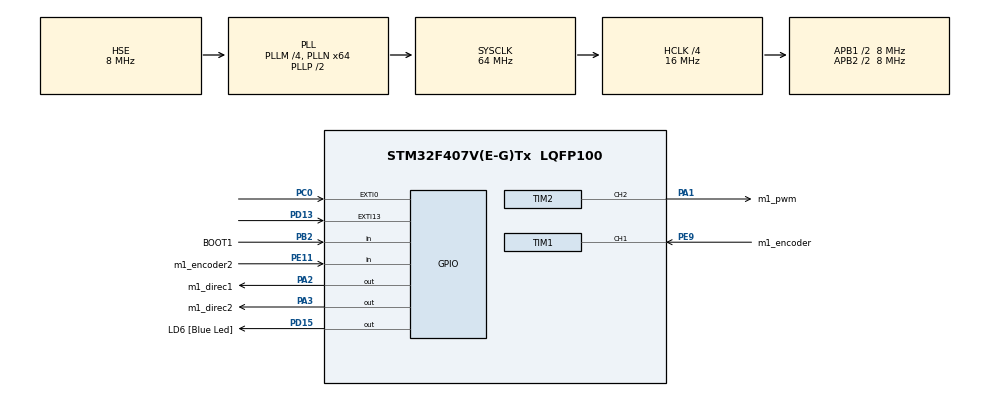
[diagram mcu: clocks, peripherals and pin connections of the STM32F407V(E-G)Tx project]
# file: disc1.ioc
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Mcu.Family=STM32F4
Mcu.Name=STM32F407V(E-G)Tx
Mcu.Package=LQFP100
NVIC.EXTI0_IRQn=true\:0\:0\:false\:false\:true\:true\:true\:true
NVIC.PriorityGroup=NVIC_PRIORITYGROUP_0
NVIC.TIM1_CC_IRQn=true\:0\:0\:false\:false\:true\:true\:true\:true
NVIC.TIM3_IRQn=true\:0\:0\:false\:false\:true\:true\:true\:true
PA1.GPIO_Label=m1_pwm
PA1.Signal=S_TIM2_CH2
PA13.GPIO_Label=SWDIO
PA13.Mode=Serial_Wire
PA13.Signal=SYS_JTMS-SWDIO
PA14.GPIO_Label=SWCLK
PA14.Mode=Serial_Wire
PA14.Signal=SYS_JTCK-SWCLK
PA2.GPIO_Label=m1_direc1
PA2.Signal=GPIO_Output
PA3.GPIO_Label=m1_direc2
PA3.Signal=GPIO_Output
PB2.GPIO_Label=BOOT1
PB2.GPIO_Mode=GPIO_MODE_INPUT
PB2.GPIO_PuPd=GPIO_NOPULL
PB2.Signal=GPIO_Input
PB3.GPIO_Label=SWO
PB3.Signal=SYS_JTDO-SWO
PC0.GPIO_PuPd=GPIO_PULLUP
PC0.Signal=GPXTI0
PD13.Signal=GPXTI13
PD15.GPIO_Label=LD6 [Blue Led]
PD15.GPIO_PuPd=GPIO_NOPULL
PD15.GPIO_Speed=GPIO_SPEED_FREQ_LOW
PD15.Signal=GPIO_Output
PE11.GPIO_Label=m1_encoder2
PE11.Signal=GPIO_Input
PE9.GPIO_Label=m1_encoder
PE9.Signal=S_TIM1_CH1
PH0-OSC_IN.Mode=HSE-External-Oscillator
PH0-OSC_IN.Signal=RCC_OSC_IN
PH1-OSC_OUT.Mode=HSE-External-Oscillator
PH1-OSC_OUT.Signal=RCC_OSC_OUT
ProjectManager.HeapSize=0x200
ProjectManager.StackSize=0x400
ProjectManager.TargetToolchain=STM32CubeIDE
RCC.48MHZClocksFreq_Value=18285714.285714287
RCC.AHBCLKDivider=RCC_SYSCLK_DIV4
RCC.AHBFreq_Value=16000000
RCC.APB1CLKDivider=RCC_HCLK_DIV2
RCC.APB1Freq_Value=8000000
RCC.APB1TimFreq_Value=16000000
RCC.APB2CLKDivider=RCC_HCLK_DIV2
RCC.APB2Freq_Value=8000000
RCC.APB2TimFreq_Value=16000000
RCC.CortexFreq_Value=16000000
RCC.HCLKFreq_Value=16000000
RCC.HSE_VALUE=8000000
RCC.HSI_VALUE=16000000
RCC.LSE_VALUE=32768
RCC.PLLM=4
RCC.PLLN=64
RCC.PLLQ=7
RCC.PLLSourceVirtual=RCC_PLLSOURCE_HSE
RCC.SYSCLKFreq_VALUE=64000000
RCC.SYSCLKSource=RCC_SYSCLKSOURCE_PLLCLK
RCC.VCOOutputFreq_Value=128000000
SH.S_TIM1_CH1.0=TIM1_CH1,Input_Capture1_from_TI1
SH.S_TIM2_CH2.0=TIM2_CH2,PWM Generation2 CH2
TIM1.Channel-Input_Capture1_from_TI1=TIM_CHANNEL_1
TIM1.ICPolarity_CH1=TIM_INPUTCHANNELPOLARITY_FALLING
TIM1.Prescaler=15
TIM2.AutoReloadPreload=TIM_AUTORELOAD_PRELOAD_ENABLE
TIM2.Channel-PWM\ Generation2\ CH2=TIM_CHANNEL_2
TIM2.Period=99
TIM2.Prescaler=800-1
TIM3.AutoReloadPreload=TIM_AUTORELOAD_PRELOAD_ENABLE
TIM3.CounterMode=TIM_COUNTERMODE_DOWN
TIM3.Period=32767
VP_TIM2_VS_ClockSourceINT.Mode=Internal
VP_TIM3_VS_ClockSourceINT.Mode=Internal
board=STM32F407G-DISC1

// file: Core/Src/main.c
/* USER CODE BEGIN Header */
/**
  ******************************************************************************
  * @file           : main.c
  * @brief          : Main program body
  ******************************************************************************
  * @attention
  *
  * Copyright (c) 2023 STMicroelectronics.
  * All rights reserved.
  *
  * This software is licensed under terms that can be found in the LICENSE file
  * in the root directory of this software component.
  * If no LICENSE file comes with this software, it is provided AS-IS.
  *
  ******************************************************************************
  */
/* USER CODE END Header */
#include "main.h"

/* USER CODE BEGIN Includes */
#include "stdio.h"
#include "stdint.h"
#include "../Inc/Position_Control.h"
/* USER CODE END Includes */

/* USER CODE BEGIN PM */

uint32_t CountOfPulses=0;

/* USER CODE END PM */

TIM_HandleTypeDef htim1;
TIM_HandleTypeDef htim2;
TIM_HandleTypeDef htim3;

/* USER CODE BEGIN PV */

uint32_t Current_time=0;
uint32_t Last_time =0;
uint32_t Difference=0;
uint32_t Accumulative_time=0;
double Speed=0;
uint8_t first_time=1;

uint32_t Speedint=0;

/// init motor
Motor_t m1={.Encoder_pin= m1_encoder_Pin,
		    .Encoder_port=m1_encoder_GPIO_Port,
            .Encoder_pin_2=m1_encoder2_Pin,
			.Encoder2_port=m1_encoder2_GPIO_Port,

            .Direction_pin1=m1_direc1_Pin,
			 .Direction_port1=m1_direc1_GPIO_Port,
	 	 	 .Direction_pin2=m1_direc2_Pin,
			 .Direction_port2=m1_direc2_GPIO_Port,

			.PWM_channel=TIM_CHANNEL_2,
			.PWM_Timer=&htim2
				};
uint32_t count=0;
GPIO_PinState bitstatus ;
void HAL_TIM_IC_CaptureCallback(TIM_HandleTypeDef *htim)
{

	if (htim->Channel == HAL_TIM_ACTIVE_CHANNEL_1)
	{

		bitstatus = HAL_GPIO_ReadPin(m1_encoder2_GPIO_Port, m1_encoder2_Pin);

		if (bitstatus == GPIO_PIN_RESET)
		{
			UpdateEncoder(&m1,up_move);
			HAL_GPIO_WritePin(GPIOD, GPIO_PIN_15, GPIO_PIN_RESET);
		}
		else
		{
			UpdateEncoder(&m1,down_mov);
			HAL_GPIO_WritePin(GPIOD, GPIO_PIN_15, GPIO_PIN_SET);
		}

		//
//		if (first_time == 1)
//		{
//			Current_time=HAL_TIM_ReadCapturedValue(&htim1,TIM_CHANNEL_1);
//			Last_time=Current_time;
//			first_time=0;
//
//		}
//		else
//		{
//			Current_time=HAL_TIM_ReadCapturedValue(&htim1,TIM_CHANNEL_1);
//
//			Difference = Current_time - Last_time;
//			Last_time  = Current_time;
//
//			Accumulative_time+=Difference;
//
//
//		}
//
//		//Speed= (1000000) / (Difference * 46.8*11);  // rps for main shaft 1:46.8
//		Speedint = (uint32_t)Speed;
//
//        printf("%d \n",(int)count);

	}

}
/*******************----controlling position ----*******************/

void HAL_TIM_PeriodElapsedCallback(TIM_HandleTypeDef *htim)
{
	//HAL_GPIO_TogglePin(GPIOD,GPIO_PIN_15);
 if (htim == &htim3)   //trigger every 2.048ms
 {
	 Position_Calc_Signal(&m1);
	 printf("%d \n",m1.CurrentPosition);
 }
}
/*
 * uint8_t buff[10] ="sheko";
  uint8_t cha[20]={'\0'};
  sprintf(cha,"bootloader...%s\r\n",buff);
 */
/* USER CODE END PV */

void SystemClock_Config(void);
static void MX_GPIO_Init(void);
static void MX_TIM1_Init(void);
static void MX_TIM2_Init(void);
static void MX_TIM3_Init(void);

int main(void)
{
  /* USER CODE BEGIN 1 */
	DBGMCU->APB1FZ |= (DBGMCU_APB1_FZ_DBG_TIM2_STOP | DBGMCU_APB1_FZ_DBG_TIM3_STOP |
	                    DBGMCU_APB1_FZ_DBG_TIM4_STOP | DBGMCU_APB1_FZ_DBG_TIM5_STOP);

  /* USER CODE END 1 */

  /* MCU Configuration--------------------------------------------------------*/

  /* Reset of all peripherals, Initializes the Flash interface and the Systick. */
  HAL_Init();

  /* Configure the system clock */
  SystemClock_Config();

  /* Initialize all configured peripherals */
  MX_GPIO_Init();
  MX_TIM1_Init();
  MX_TIM2_Init();
  MX_TIM3_Init();
  /* USER CODE BEGIN 2 */
  HAL_Delay(1000);
HAL_TIM_IC_Start_IT(&htim1, TIM_CHANNEL_1);

//*********** position **********/
HAL_TIM_Base_Start_IT(&htim3);   // Generate interrupt
init_motors(&m1);
//init_PIDVal(&m1,11.642, 0,0.108);  //best one, but with some oscillation
//init_PIDVal(&m1,2.081, 0,0.08687);
//init_PIDVal(&m1,3.24, 0,0.134);
//init_PIDVal(&m1,0.052, 0.062,0.003);  // the best
//init_PIDVal(&m1,0.59, 0,0.021);
//init_PIDVal(&m1,0.3781, 0,0.0134);
//init_PIDVal(&m1,1.126, 0,0.0186);      // system identification (small oscillation)(best)
//init_PIDVal(&m1,1.126, 0,0.0086);
init_PIDVal(&m1,0.475, 0,0.0134);  //the fshe5aaa one

Position_GetNewTarget(&m1, 40);
HAL_Delay(500);
Position_GetNewTarget(&m1, 0);

  /* USER CODE END 2 */

  /* Infinite loop */
  /* USER CODE BEGIN WHILE */
while (1)
  {}
  /* USER CODE END 3 */
}

void SystemClock_Config(void)
{
  RCC_OscInitTypeDef RCC_OscInitStruct = {0};
  RCC_ClkInitTypeDef RCC_ClkInitStruct = {0};

  /** Configure the main internal regulator output voltage
  */
  __HAL_RCC_PWR_CLK_ENABLE();
  __HAL_PWR_VOLTAGESCALING_CONFIG(PWR_REGULATOR_VOLTAGE_SCALE1);

  /** Initializes the RCC Oscillators according to the specified parameters
  * in the RCC_OscInitTypeDef structure.
  */
  RCC_OscInitStruct.OscillatorType = RCC_OSCILLATORTYPE_HSE;
  RCC_OscInitStruct.HSEState = RCC_HSE_ON;
  RCC_OscInitStruct.PLL.PLLState = RCC_PLL_ON;
  RCC_OscInitStruct.PLL.PLLSource = RCC_PLLSOURCE_HSE;
  RCC_OscInitStruct.PLL.PLLM = 4;
  RCC_OscInitStruct.PLL.PLLN = 64;
  RCC_OscInitStruct.PLL.PLLP = RCC_PLLP_DIV2;
  RCC_OscInitStruct.PLL.PLLQ = 7;
  if (HAL_RCC_OscConfig(&RCC_OscInitStruct) != HAL_OK)
  {
    Error_Handler();
  }

  /** Initializes the CPU, AHB and APB buses clocks
  */
  RCC_ClkInitStruct.ClockType = RCC_CLOCKTYPE_HCLK|RCC_CLOCKTYPE_SYSCLK
                              |RCC_CLOCKTYPE_PCLK1|RCC_CLOCKTYPE_PCLK2;
  RCC_ClkInitStruct.SYSCLKSource = RCC_SYSCLKSOURCE_PLLCLK;
  RCC_ClkInitStruct.AHBCLKDivider = RCC_SYSCLK_DIV4;
  RCC_ClkInitStruct.APB1CLKDivider = RCC_HCLK_DIV2;
  RCC_ClkInitStruct.APB2CLKDivider = RCC_HCLK_DIV2;

  if (HAL_RCC_ClockConfig(&RCC_ClkInitStruct, FLASH_LATENCY_0) != HAL_OK)
  {
    Error_Handler();
  }
}

static void MX_TIM1_Init(void)
{

  TIM_MasterConfigTypeDef sMasterConfig = {0};
  TIM_IC_InitTypeDef sConfigIC = {0};

  htim1.Instance = TIM1;
  htim1.Init.Prescaler = 15;
  htim1.Init.CounterMode = TIM_COUNTERMODE_UP;
  htim1.Init.Period = 65535;
  htim1.Init.ClockDivision = TIM_CLOCKDIVISION_DIV1;
  htim1.Init.RepetitionCounter = 0;
  htim1.Init.AutoReloadPreload = TIM_AUTORELOAD_PRELOAD_DISABLE;
  if (HAL_TIM_IC_Init(&htim1) != HAL_OK)
  {
    Error_Handler();
  }
  sMasterConfig.MasterOutputTrigger = TIM_TRGO_RESET;
  sMasterConfig.MasterSlaveMode = TIM_MASTERSLAVEMODE_DISABLE;
  if (HAL_TIMEx_MasterConfigSynchronization(&htim1, &sMasterConfig) != HAL_OK)
  {
    Error_Handler();
  }
  sConfigIC.ICPolarity = TIM_INPUTCHANNELPOLARITY_FALLING;
  sConfigIC.ICSelection = TIM_ICSELECTION_DIRECTTI;
  sConfigIC.ICPrescaler = TIM_ICPSC_DIV1;
  sConfigIC.ICFilter = 0;
  if (HAL_TIM_IC_ConfigChannel(&htim1, &sConfigIC, TIM_CHANNEL_1) != HAL_OK)
  {
    Error_Handler();
  }

}

static void MX_TIM2_Init(void)
{

  TIM_ClockConfigTypeDef sClockSourceConfig = {0};
  TIM_MasterConfigTypeDef sMasterConfig = {0};
  TIM_OC_InitTypeDef sConfigOC = {0};

  htim2.Instance = TIM2;
  htim2.Init.Prescaler = 800-1;
  htim2.Init.CounterMode = TIM_COUNTERMODE_UP;
  htim2.Init.Period = 99;
  htim2.Init.ClockDivision = TIM_CLOCKDIVISION_DIV1;
  htim2.Init.AutoReloadPreload = TIM_AUTORELOAD_PRELOAD_ENABLE;
  if (HAL_TIM_Base_Init(&htim2) != HAL_OK)
  {
    Error_Handler();
  }
  sClockSourceConfig.ClockSource = TIM_CLOCKSOURCE_INTERNAL;
  if (HAL_TIM_ConfigClockSource(&htim2, &sClockSourceConfig) != HAL_OK)
  {
    Error_Handler();
  }
  if (HAL_TIM_PWM_Init(&htim2) != HAL_OK)
  {
    Error_Handler();
  }
  sMasterConfig.MasterOutputTrigger = TIM_TRGO_RESET;
  sMasterConfig.MasterSlaveMode = TIM_MASTERSLAVEMODE_DISABLE;
  if (HAL_TIMEx_MasterConfigSynchronization(&htim2, &sMasterConfig) != HAL_OK)
  {
    Error_Handler();
  }
  sConfigOC.OCMode = TIM_OCMODE_PWM1;
  sConfigOC.Pulse = 0;
  sConfigOC.OCPolarity = TIM_OCPOLARITY_HIGH;
  sConfigOC.OCFastMode = TIM_OCFAST_DISABLE;
  if (HAL_TIM_PWM_ConfigChannel(&htim2, &sConfigOC, TIM_CHANNEL_2) != HAL_OK)
  {
    Error_Handler();
  }
  HAL_TIM_MspPostInit(&htim2);

}

static void MX_TIM3_Init(void)
{

  TIM_ClockConfigTypeDef sClockSourceConfig = {0};
  TIM_MasterConfigTypeDef sMasterConfig = {0};

  htim3.Instance = TIM3;
  htim3.Init.Prescaler = 0;
  htim3.Init.CounterMode = TIM_COUNTERMODE_DOWN;
  htim3.Init.Period = 32767;
  htim3.Init.ClockDivision = TIM_CLOCKDIVISION_DIV1;
  htim3.Init.AutoReloadPreload = TIM_AUTORELOAD_PRELOAD_ENABLE;
  if (HAL_TIM_Base_Init(&htim3) != HAL_OK)
  {
    Error_Handler();
  }
  sClockSourceConfig.ClockSource = TIM_CLOCKSOURCE_INTERNAL;
  if (HAL_TIM_ConfigClockSource(&htim3, &sClockSourceConfig) != HAL_OK)
  {
    Error_Handler();
  }
  sMasterConfig.MasterOutputTrigger = TIM_TRGO_RESET;
  sMasterConfig.MasterSlaveMode = TIM_MASTERSLAVEMODE_DISABLE;
  if (HAL_TIMEx_MasterConfigSynchronization(&htim3, &sMasterConfig) != HAL_OK)
  {
    Error_Handler();
  }

}

static void MX_GPIO_Init(void)
{
  GPIO_InitTypeDef GPIO_InitStruct = {0};

  /* GPIO Ports Clock Enable */
  __HAL_RCC_GPIOH_CLK_ENABLE();
  __HAL_RCC_GPIOC_CLK_ENABLE();
  __HAL_RCC_GPIOA_CLK_ENABLE();
  __HAL_RCC_GPIOB_CLK_ENABLE();
  __HAL_RCC_GPIOE_CLK_ENABLE();
  __HAL_RCC_GPIOD_CLK_ENABLE();

  /*Configure GPIO pin Output Level */
  HAL_GPIO_WritePin(GPIOA, m1_direc1_Pin|m1_direc2_Pin, GPIO_PIN_RESET);

  /*Configure GPIO pin Output Level */
  HAL_GPIO_WritePin(LD6_GPIO_Port, LD6_Pin, GPIO_PIN_RESET);

  /*Configure GPIO pin : PC0 */
  GPIO_InitStruct.Pin = GPIO_PIN_0;
  GPIO_InitStruct.Mode = GPIO_MODE_IT_RISING;
  GPIO_InitStruct.Pull = GPIO_PULLUP;
  HAL_GPIO_Init(GPIOC, &GPIO_InitStruct);

  /*Configure GPIO pins : m1_direc1_Pin m1_direc2_Pin */
  GPIO_InitStruct.Pin = m1_direc1_Pin|m1_direc2_Pin;
  GPIO_InitStruct.Mode = GPIO_MODE_OUTPUT_PP;
  GPIO_InitStruct.Pull = GPIO_NOPULL;
  GPIO_InitStruct.Speed = GPIO_SPEED_FREQ_LOW;
  HAL_GPIO_Init(GPIOA, &GPIO_InitStruct);

  /*Configure GPIO pin : BOOT1_Pin */
  GPIO_InitStruct.Pin = BOOT1_Pin;
  GPIO_InitStruct.Mode = GPIO_MODE_INPUT;
  GPIO_InitStruct.Pull = GPIO_NOPULL;
  HAL_GPIO_Init(BOOT1_GPIO_Port, &GPIO_InitStruct);

  /*Configure GPIO pin : m1_encoder2_Pin */
  GPIO_InitStruct.Pin = m1_encoder2_Pin;
  GPIO_InitStruct.Mode = GPIO_MODE_INPUT;
  GPIO_InitStruct.Pull = GPIO_NOPULL;
  HAL_GPIO_Init(m1_encoder2_GPIO_Port, &GPIO_InitStruct);

  /*Configure GPIO pin : PD13 */
  GPIO_InitStruct.Pin = GPIO_PIN_13;
  GPIO_InitStruct.Mode = GPIO_MODE_IT_RISING;
  GPIO_InitStruct.Pull = GPIO_NOPULL;
  HAL_GPIO_Init(GPIOD, &GPIO_InitStruct);

  /*Configure GPIO pin : LD6_Pin */
  GPIO_InitStruct.Pin = LD6_Pin;
  GPIO_InitStruct.Mode = GPIO_MODE_OUTPUT_PP;
  GPIO_InitStruct.Pull = GPIO_NOPULL;
  GPIO_InitStruct.Speed = GPIO_SPEED_FREQ_LOW;
  HAL_GPIO_Init(LD6_GPIO_Port, &GPIO_InitStruct);

  /* EXTI interrupt init*/
  HAL_NVIC_SetPriority(EXTI0_IRQn, 0, 0);
  HAL_NVIC_EnableIRQ(EXTI0_IRQn);

}

void Error_Handler(void)
{
  __disable_irq();
  while (1)
  {
  }
}
